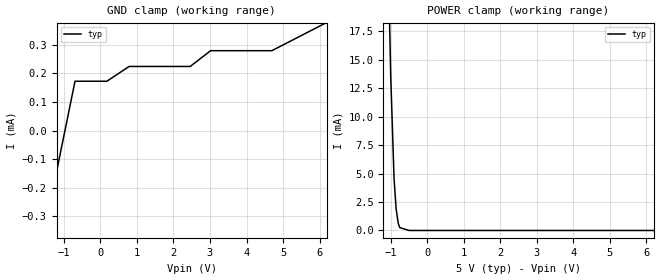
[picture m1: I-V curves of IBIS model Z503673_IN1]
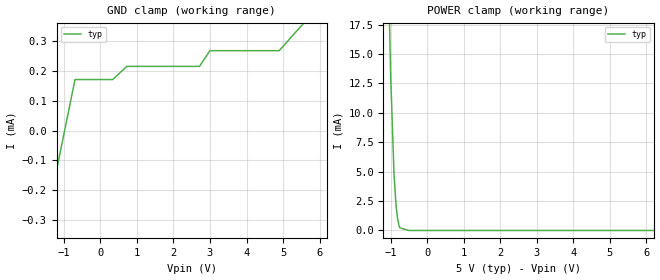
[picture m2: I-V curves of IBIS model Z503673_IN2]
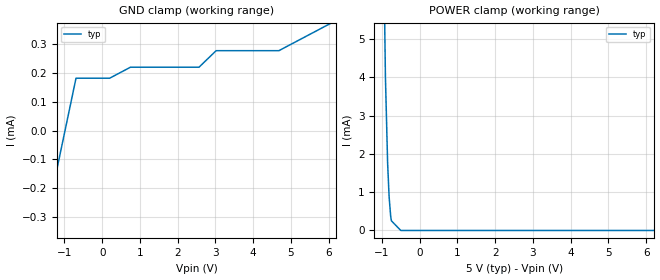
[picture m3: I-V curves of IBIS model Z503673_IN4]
| YOU ARE ONLY AUTHORIZED TO USE THIS SOFTWARE
| ACCORDING TO LICENSOR'S LICENSE RESTRICTIONS.
[IBIS Ver] 3.1
[File Name] mc14558bd.ibs
[File Rev] 2.0
[Source] Measured and created by ICX Technology
[Date] Friday 7/14/00 9:07:57 AM
[Copyright]
| (C) COPYRIGHT 1993-2000
| MENTOR GRAPHICS CORPORATION
| ICX STANDARD LIBRARY, ICX PROJECT MODELING,
| ICX CUSTOM MODELING, ICX VENDOR MODEL
| ALL RIGHTS RESERVED.
| THE FOLLOWING ARE TRADEMARKS OR SERVICE MARKS OF
| MENTOR GRAPHICS CORPORATION:ICX (R), ICX STANDARD
| LIBRARY(R), ICX PROJECT MODELING(R), ICX CUSTOM
| MODELING(R), qualityIBIS(TM), MODELVIEWER(TM),
| AND MODELEDITOR(TM)
| ALL COPIES OF SOFTWARE, INCLUDING BUT NOT LIMITED TO
| ANY MODIFICATIONS, ENHANCEMENTS OR DERIVATIVE WORKS,
| MUST CONTAIN ALL MENTOR GRAPHICS CORPORATION'S
| NOTICES AND LEGENDS, INCLUDING THOSE EMBEDDED IN
| SOFTWARE AND THOSE AFFIXED TO SOFTWARE MEDIUM
| AND CONTAINER, AS RECEIVED FROM MENTOR GRAPHICS
| CORPORATION.
|  ZAP Model Builder 2.7
[Component] MC14558BD
[Manufacturer] OnSemiconductor
[Package]
| variable   typ   min   max
R_pkg  .156ohms NA NA
L_pkg  3.148nH NA NA
C_pkg  .388pF NA NA
[Pin] signal_name  model_name  R_pin  L_pin C_pin
1 B Z503673_IN1 .162 3.798n .418p
2 C Z503673_IN1 .158 3.358n .398p
3 ENB Z503673_IN2 .154 2.928n .378p
4 _RBO Z503673_OUT3 .15 2.508n .358p
5 _RBI Z503673_IN4 .15 2.508n .358p
6 D Z503673_IN1 .154 2.928n .378p
7 A Z503673_IN1 .158 3.358n .398p
8 VSS POWER .162 3.798n .418p
9 e Z503673_OUT5 .162 3.798n .418p
10 d Z503673_OUT5 .158 3.358n .398p
11 c Z503673_OUT5 .154 2.928n .378p
12 b Z503673_OUT5 .15 2.508n .358p
13 a Z503673_OUT5 .15 2.508n .358p
14 g Z503673_OUT5 .154 2.928n .378p
15 f Z503673_OUT5 .158 3.358n .398p
16 VDD POWER .162 3.798n .418p
| Models and submodels in the file (5): Z503673_IN1 (Input), Z503673_IN2 (Input), Z503673_IN4 (Input), Z503673_OUT3 (Output), Z503673_OUT5 (Output)
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| (C) COPYRIGHT 1993-2000
| MENTOR GRAPHICS CORPORATION
| ICX STANDARD LIBRARY, ICX PROJECT MODELING,
| ICX CUSTOM MODELING, ICX VENDOR MODEL
| ALL RIGHTS RESERVED.
| THE FOLLOWING ARE TRADEMARKS OR SERVICE MARKS OF
| MENTOR GRAPHICS CORPORATION:ICX (R), ICX STANDARD
| LIBRARY(R), ICX PROJECT MODELING(R), ICX CUSTOM
| MODELING(R), qualityIBIS(TM), MODELVIEWER(TM),
| AND MODELEDITOR(TM)
| ALL COPIES OF SOFTWARE, INCLUDING BUT NOT LIMITED TO
| ANY MODIFICATIONS, ENHANCEMENTS OR DERIVATIVE WORKS,
| MUST CONTAIN ALL MENTOR GRAPHICS CORPORATION'S
| NOTICES AND LEGENDS, INCLUDING THOSE EMBEDDED IN
| SOFTWARE AND THOSE AFFIXED TO SOFTWARE MEDIUM
| AND CONTAINER, AS RECEIVED FROM MENTOR GRAPHICS
| CORPORATION.
| Model Application Version 1.89 2/18/99.
[Model] Z503673_IN1
Model_type Input
Vinl = 1.500V
Vinh = 3.500V
C_comp 4.000pF NA NA
| variable typ   min   max
[Voltage Range] 5.000V NA NA
[GND Clamp Reference] 0.000V NA NA
[POWER Clamp Reference] 5.000V NA NA
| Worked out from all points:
|   POWER clamp passes 1 mA (typ) near -0.81 V on its own axis
[GND Clamp]
-5V       -2.527mA   NA         NA
-694mV    172.5uA    NA         NA
178.2mV   172.5uA    NA         NA
786.2mV   224.2uA    NA         NA
2.46V     224.2uA    NA         NA
3.018V    279.4uA    NA         NA
4.695V    279.4uA    NA         NA
10V       628.6uA    NA         NA
[POWER Clamp]
-5V       1.048A     NA         NA
-1.167V   43.76mA    NA         NA
-1.05V    21.11mA    NA         NA
-999mV    13.5mA     NA         NA
-908mV    4.513mA    NA         NA
-850mV    1.846mA    NA         NA
-792mV    603.1uA    NA         NA
-752mV    253.4uA    NA         NA
-501.3mV  0A         NA         NA
10V       0A         NA         NA
| (C) COPYRIGHT 1993-2000
| MENTOR GRAPHICS CORPORATION
| ICX STANDARD LIBRARY, ICX PROJECT MODELING,
| ICX CUSTOM MODELING, ICX VENDOR MODEL
| ALL RIGHTS RESERVED.
| THE FOLLOWING ARE TRADEMARKS OR SERVICE MARKS OF
| MENTOR GRAPHICS CORPORATION:ICX (R), ICX STANDARD
| LIBRARY(R), ICX PROJECT MODELING(R), ICX CUSTOM
| MODELING(R), qualityIBIS(TM), MODELVIEWER(TM),
| AND MODELEDITOR(TM)
| ALL COPIES OF SOFTWARE, INCLUDING BUT NOT LIMITED TO
| ANY MODIFICATIONS, ENHANCEMENTS OR DERIVATIVE WORKS,
| MUST CONTAIN ALL MENTOR GRAPHICS CORPORATION'S
| NOTICES AND LEGENDS, INCLUDING THOSE EMBEDDED IN
| SOFTWARE AND THOSE AFFIXED TO SOFTWARE MEDIUM
| AND CONTAINER, AS RECEIVED FROM MENTOR GRAPHICS
| CORPORATION.
| Model Application Version 1.89 2/18/99.
[Model] Z503673_IN2
Model_type Input
Vinl = 1.500V
Vinh = 3.500V
C_comp 4.000pF NA NA
| variable typ   min   max
[Voltage Range] 5.000V NA NA
[GND Clamp Reference] 0.000V NA NA
[POWER Clamp Reference] 5.000V NA NA
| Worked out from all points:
|   POWER clamp passes 1 mA (typ) near -0.81 V on its own axis
[GND Clamp]
-5V       -2.428mA   NA         NA
-694mV    171.7uA    NA         NA
338.8mV   171.7uA    NA         NA
723.1mV   216uA      NA         NA
2.714V    216uA      NA         NA
2.998V    268.8uA    NA         NA
4.894V    268.8uA    NA         NA
10V       973.1uA    NA         NA
[POWER Clamp]
-5V       941.7mA    NA         NA
-1.169V   41.34mA    NA         NA
-1.035V   17.85mA    NA         NA
-1V       13.07mA    NA         NA
-908mV    4.654mA    NA         NA
-850mV    1.997mA    NA         NA
-811mV    1.001mA    NA         NA
-770mV    394.9uA    NA         NA
-751mV    225.5uA    NA         NA
-500.7mV  0A         NA         NA
10V       0A         NA         NA
| (C) COPYRIGHT 1993-2000
| MENTOR GRAPHICS CORPORATION
| ICX STANDARD LIBRARY, ICX PROJECT MODELING,
| ICX CUSTOM MODELING, ICX VENDOR MODEL
| ALL RIGHTS RESERVED.
| THE FOLLOWING ARE TRADEMARKS OR SERVICE MARKS OF
| MENTOR GRAPHICS CORPORATION:ICX (R), ICX STANDARD
| LIBRARY(R), ICX PROJECT MODELING(R), ICX CUSTOM
| MODELING(R), qualityIBIS(TM), MODELVIEWER(TM),
| AND MODELEDITOR(TM)
| ALL COPIES OF SOFTWARE, INCLUDING BUT NOT LIMITED TO
| ANY MODIFICATIONS, ENHANCEMENTS OR DERIVATIVE WORKS,
| MUST CONTAIN ALL MENTOR GRAPHICS CORPORATION'S
| NOTICES AND LEGENDS, INCLUDING THOSE EMBEDDED IN
| SOFTWARE AND THOSE AFFIXED TO SOFTWARE MEDIUM
| AND CONTAINER, AS RECEIVED FROM MENTOR GRAPHICS
| CORPORATION.
| Model Application Version 1.89 2/18/99.
[Model] Z503673_IN4
Model_type Input
Vinl = 1.500V
Vinh = 3.500V
C_comp 4.000pF NA NA
| variable typ   min   max
[Voltage Range] 5.000V NA NA
[GND Clamp Reference] 0.000V NA NA
[POWER Clamp Reference] 5.000V NA NA
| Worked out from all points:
|   POWER clamp passes 1 mA (typ) near -0.82 V on its own axis
[GND Clamp]
-5V       -2.5mA     NA         NA
-694mV    181uA      NA         NA
198mV     181uA      NA         NA
747.6mV   219uA      NA         NA
2.564V    219uA      NA         NA
3.018V    276.2uA    NA         NA
4.68V     276.2uA    NA         NA
10V       643uA      NA         NA
[POWER Clamp]
-5V       524.8mA    NA         NA
-1.2V     31.21mA    NA         NA
-1.02V    12.06mA    NA         NA
-908mV    4.018mA    NA         NA
-850mV    1.765mA    NA         NA
-811mV    890.8uA    NA         NA
-770mV    382.9uA    NA         NA
-751mV    253.9uA    NA         NA
-500.7mV  0A         NA         NA
10V       0A         NA         NA
